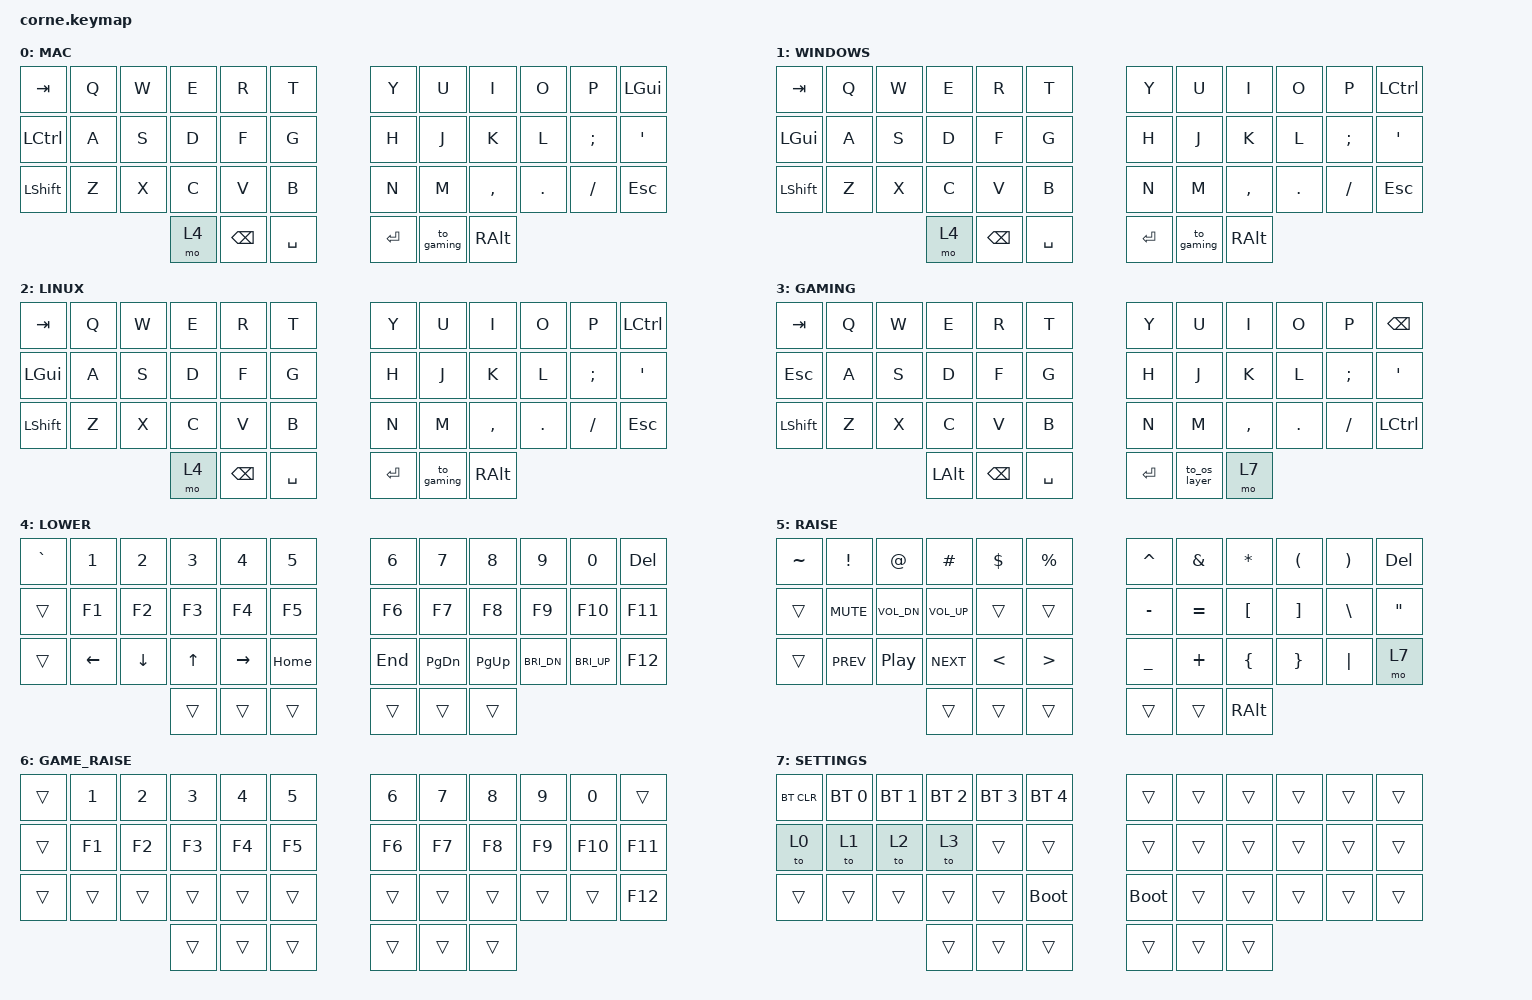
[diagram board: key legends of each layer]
/*
 * Copyright (c) 2020 The ZMK Contributors
 *
 * SPDX-License-Identifier: MIT
 */

/*
 * Multi-OS Layout with:
 * - CMD/CTRL on top-right corner
 * - BACKSPACE on middle left thumb
 * - LOWER on far left thumb
 * - Safe bootloader positions
 */

#include <behaviors.dtsi>
#include <dt-bindings/zmk/bt.h>
#include <dt-bindings/zmk/keys.h>

/ {
    behaviors {
        // Tap-dance for gaming layer access
        to_gaming: to_gaming {
            compatible = "zmk,behavior-tap-dance";
            label = "TO_GAMING";
            #binding-cells = <0>;
            bindings = <&mo 5>, <&to 3>;  // Single tap = momentary RAISE, double = lock to Gaming
        };

        // Tap-dance to return from gaming to OS layers
        to_os_layer: to_os_layer {
            compatible = "zmk,behavior-tap-dance";
            label = "TO_OS_LAYER";
            #binding-cells = <0>;
            bindings = <&mo 6>, <&to 0>;  // Single tap = momentary gaming raise, double = return to Mac
        };
    };

    combos {
        compatible = "zmk,combos";
    };

    keymap {
        compatible = "zmk,keymap";

        mac_base {
            display-name="MAC";
            // -----------------------------------------------------------------------------------------
            // |  TAB |  Q  |  W  |  E  |  R  |  T  |   |  Y  |  U   |  I  |  O  |  P  | CMD  |
            // | CTRL |  A  |  S  |  D  |  F  |  G  |   |  H  |  J   |  K  |  L  |  ;  |  '   |
            // | SHFT |  Z  |  X  |  C  |  V  |  B  |   |  N  |  M   |  ,  |  .  |  /  | ESC  |
            //                    | LOWR | BKSP | SPC |   | ENT | RAISE| ALT |

            bindings = <
&kp TAB    &kp Q  &kp W  &kp E   &kp R          &kp T        &kp Y    &kp U        &kp I      &kp O    &kp P     &kp LGUI
&kp LCTRL  &kp A  &kp S  &kp D   &kp F          &kp G        &kp H    &kp J        &kp K      &kp L    &kp SEMI  &kp SQT
&kp LSHFT  &kp Z  &kp X  &kp C   &kp V          &kp B        &kp N    &kp M        &kp COMMA  &kp DOT  &kp FSLH  &kp ESC
                         &mo 4   &kp BACKSPACE  &kp SPACE    &kp RET  &to_gaming   &kp RALT
            >;
        };

        windows_base {
            display-name="WINDOWS";
            // -----------------------------------------------------------------------------------------
            // |  TAB |  Q  |  W  |  E  |  R  |  T  |   |  Y  |  U   |  I  |  O  |  P  | CTRL |
            // | GUI  |  A  |  S  |  D  |  F  |  G  |   |  H  |  J   |  K  |  L  |  ;  |  '   |
            // | SHFT |  Z  |  X  |  C  |  V  |  B  |   |  N  |  M   |  ,  |  .  |  /  | ESC  |
            //                    | LOWR | BKSP | SPC |   | ENT | RAISE| ALT |

            bindings = <
&kp TAB    &kp Q  &kp W  &kp E   &kp R          &kp T        &kp Y    &kp U        &kp I      &kp O    &kp P     &kp LCTRL
&kp LGUI   &kp A  &kp S  &kp D   &kp F          &kp G        &kp H    &kp J        &kp K      &kp L    &kp SEMI  &kp SQT
&kp LSHFT  &kp Z  &kp X  &kp C   &kp V          &kp B        &kp N    &kp M        &kp COMMA  &kp DOT  &kp FSLH  &kp ESC
                         &mo 4   &kp BACKSPACE  &kp SPACE    &kp RET  &to_gaming   &kp RALT
            >;
        };

        linux_base {
            display-name="LINUX";
            // -----------------------------------------------------------------------------------------
            // |  TAB |  Q  |  W  |  E  |  R  |  T  |   |  Y  |  U   |  I  |  O  |  P  | CTRL |
            // | GUI  |  A  |  S  |  D  |  F  |  G  |   |  H  |  J   |  K  |  L  |  ;  |  '   |
            // | SHFT |  Z  |  X  |  C  |  V  |  B  |   |  N  |  M   |  ,  |  .  |  /  | ESC  |
            //                    | LOWR | BKSP | SPC |   | ENT | RAISE| ALT |

            bindings = <
&kp TAB    &kp Q  &kp W  &kp E   &kp R          &kp T        &kp Y    &kp U        &kp I      &kp O    &kp P     &kp LCTRL
&kp LGUI   &kp A  &kp S  &kp D   &kp F          &kp G        &kp H    &kp J        &kp K      &kp L    &kp SEMI  &kp SQT
&kp LSHFT  &kp Z  &kp X  &kp C   &kp V          &kp B        &kp N    &kp M        &kp COMMA  &kp DOT  &kp FSLH  &kp ESC
                         &mo 4   &kp BACKSPACE  &kp SPACE    &kp RET  &to_gaming   &kp RALT
            >;
        };

        gaming {
            display-name="GAMING";
            // -----------------------------------------------------------------------------------------
            // |  TAB |  Q  |  W  |  E  |  R  |  T  |   |  Y  |  U   |  I  |  O  |  P  | BKSP |
            // | ESC  |  A  |  S  |  D  |  F  |  G  |   |  H  |  J   |  K  |  L  |  ;  |  '   |
            // | SHFT |  Z  |  X  |  C  |  V  |  B  |   |  N  |  M   |  ,  |  .  |  /  | CTRL |
            //                    | ALT | BKSP | SPC |   | ENT | G_RSE| toOS|

            bindings = <
&kp TAB    &kp Q  &kp W  &kp E     &kp R          &kp T        &kp Y    &kp U          &kp I      &kp O    &kp P     &kp BSPC
&kp ESC    &kp A  &kp S  &kp D     &kp F          &kp G        &kp H    &kp J          &kp K      &kp L    &kp SEMI  &kp SQT
&kp LSHFT  &kp Z  &kp X  &kp C     &kp V          &kp B        &kp N    &kp M          &kp COMMA  &kp DOT  &kp FSLH  &kp LCTRL
                         &kp LALT  &kp BACKSPACE  &kp SPACE    &kp RET  &to_os_layer   &mo 7
            >;
        };

        lower_layer {
            display-name="LOWER";
            // -----------------------------------------------------------------------------------------
            // |  `   |  1  |  2  |  3  |  4  |  5  |   |  6  |  7  |  8  |  9  |  0  | DEL  |
            // |      | F1  | F2  | F3  | F4  | F5  |   | F6  | F7  | F8  | F9  | F10 | F11  |
            // |      | LFT | DWN |  UP | RGT | HOME|   | END |PG_DN|PG_UP|BR_DN|BR_UP| F12  |
            //                    |     |XXXXX|     |   |     |     |     |

            bindings = <
&kp GRAVE  &kp N1    &kp N2    &kp N3    &kp N4     &kp N5       &kp N6   &kp N7     &kp N8     &kp N9           &kp N0           &kp DEL
&trans     &kp F1    &kp F2    &kp F3    &kp F4     &kp F5       &kp F6   &kp F7     &kp F8     &kp F9           &kp F10          &kp F11
&trans     &kp LEFT  &kp DOWN  &kp UP    &kp RIGHT  &kp HOME     &kp END  &kp PG_DN  &kp PG_UP  &kp C_BRI_DN     &kp C_BRI_UP     &kp F12
                               &trans    &trans     &trans       &trans   &trans     &trans
            >;
        };

        raise_layer {
            display-name="RAISE";
            // -----------------------------------------------------------------------------------------
            // |  ~   |  !  |  @  |  #  |  $  |  %  |   |  ^  |  &  |  *  |  (  |  )  | DEL  |
            // |      |MUTE |VOL- |VOL+ |     |     |   |  -  |  =  |  [  |  ]  |  \  |  "   |
            // |      |PREV |PLAY |NEXT |  <  |  >  |   |  _  |  +  |  {  |  }  |  |  | SETNG|
            //                    |     |     |     |   |     |XXXXX| ALT |

            bindings = <
&kp TILDE  &kp EXCL      &kp AT        &kp HASH       &kp DLLR  &kp PRCNT    &kp CARET  &kp AMPS   &kp ASTRK  &kp LPAR  &kp RPAR  &kp DEL
&trans     &kp C_MUTE    &kp C_VOL_DN  &kp C_VOL_UP   &trans    &trans       &kp MINUS  &kp EQUAL  &kp LBKT   &kp RBKT  &kp BSLH  &kp DQT
&trans     &kp C_PREV    &kp C_PP      &kp C_NEXT     &kp LT    &kp GT       &kp UNDER  &kp PLUS   &kp LBRC   &kp RBRC  &kp PIPE  &mo 7
                                       &trans         &trans    &trans       &trans     &trans     &kp RALT
            >;
        };

        gaming_raise {
            display-name="GAME_RAISE";
            // -----------------------------------------------------------------------------------------
            // |      |  1  |  2  |  3  |  4  |  5  |   |  6  |  7  |  8  |  9  |  0  |      |
            // |      | F1  | F2  | F3  | F4  | F5  |   | F6  | F7  | F8  | F9  | F10 | F11  |
            // |      |     |     |     |     |     |   |     |     |     |     |     | F12  |
            //                    |     |     |     |   |     |XXXXX|     |

            bindings = <
&trans  &kp N1  &kp N2  &kp N3  &kp N4  &kp N5     &kp N6  &kp N7   &kp N8  &kp N9   &kp N0   &trans
&trans  &kp F1  &kp F2  &kp F3  &kp F4  &kp F5     &kp F6  &kp F7   &kp F8  &kp F9   &kp F10  &kp F11
&trans  &trans  &trans  &trans  &trans  &trans     &trans  &trans   &trans  &trans   &trans   &kp F12
                        &trans  &trans  &trans     &trans  &trans   &trans
            >;
        };

        settings_layer {
            display-name="SETTINGS";
            // -----------------------------------------------------------------------------------------
            // |BTCLR | BT0 | BT1 | BT2 | BT3 | BT4 |   |     |     |     |     |     |      |
            // | MAC  | WIN |LINUX|GAME |     |     |   |     |     |     |     |     |      |
            // |      |     |     |     |     |BTLDR|   |BTLDR|     |     |     |     |      |
            //                    |     |     |     |   |     |     |     |

            bindings = <
&bt BT_CLR  &bt BT_SEL 0  &bt BT_SEL 1  &bt BT_SEL 2  &bt BT_SEL 3  &bt BT_SEL 4    &trans       &trans  &trans  &trans  &trans  &trans
&to 0       &to 1         &to 2         &to 3         &trans        &trans          &trans       &trans  &trans  &trans  &trans  &trans
&trans      &trans        &trans        &trans        &trans        &bootloader     &bootloader  &trans  &trans  &trans  &trans  &trans
                                        &trans        &trans        &trans          &trans       &trans  &trans
            >;
        };
    };
};
